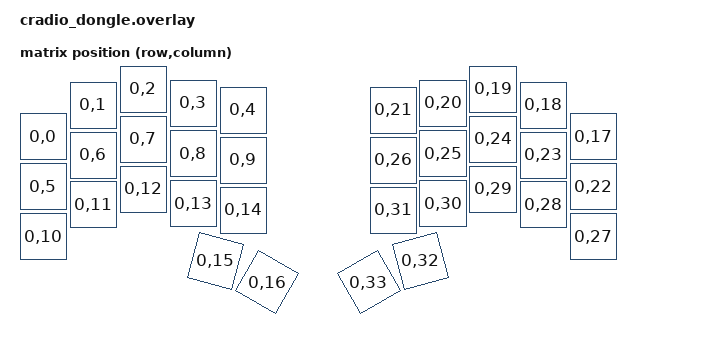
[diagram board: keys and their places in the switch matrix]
#include <dt-bindings/zmk/matrix_transform.h>

/ {
    chosen {
        zmk,kscan = &mock_kscan;
        zmk,physical-layout = &cuddlykeyboards_ferris_layout;
    };

    mock_kscan: mock_kscan_0 {
        compatible = "zmk,kscan-mock";
        columns = <0>;
        rows = <0>;
        events = <0>;
    };

    default_transform: keymap_transform_0 {
        compatible = "zmk,matrix-transform";
        columns = <34>;
        rows = <1>;
        map = <
        RC(0,0)  RC(0,1)  RC(0,2)  RC(0,3)  RC(0,4)    RC(0,21) RC(0,20) RC(0,19) RC(0,18) RC(0,17)
        RC(0,5)  RC(0,6)  RC(0,7)  RC(0,8)  RC(0,9)    RC(0,26) RC(0,25) RC(0,24) RC(0,23) RC(0,22)
        RC(0,10) RC(0,11) RC(0,12) RC(0,13) RC(0,14)   RC(0,31) RC(0,30) RC(0,29) RC(0,28) RC(0,27)
                                   RC(0,15) RC(0,16)   RC(0,33) RC(0,32)
        >;
    };

    cuddlykeyboards_ferris_layout: cuddlykeyboards_ferris_layout {
        compatible = "zmk,physical-layout";
        display-name = "Default";

        keys  //                     w   h    x    y     rot    rx    ry
            = <&key_physical_attrs 100 100    0   95       0     0     0>
            , <&key_physical_attrs 100 100  100   32       0     0     0>
            , <&key_physical_attrs 100 100  200    0       0     0     0>
            , <&key_physical_attrs 100 100  300   28       0     0     0>
            , <&key_physical_attrs 100 100  400   42       0     0     0>
            , <&key_physical_attrs 100 100  700   42       0     0     0>
            , <&key_physical_attrs 100 100  800   28       0     0     0>
            , <&key_physical_attrs 100 100  900    0       0     0     0>
            , <&key_physical_attrs 100 100 1000   32       0     0     0>
            , <&key_physical_attrs 100 100 1100   95       0     0     0>
            , <&key_physical_attrs 100 100    0  195       0     0     0>
            , <&key_physical_attrs 100 100  100  132       0     0     0>
            , <&key_physical_attrs 100 100  200  100       0     0     0>
            , <&key_physical_attrs 100 100  300  129       0     0     0>
            , <&key_physical_attrs 100 100  400  142       0     0     0>
            , <&key_physical_attrs 100 100  700  142       0     0     0>
            , <&key_physical_attrs 100 100  800  129       0     0     0>
            , <&key_physical_attrs 100 100  900  100       0     0     0>
            , <&key_physical_attrs 100 100 1000  132       0     0     0>
            , <&key_physical_attrs 100 100 1100  195       0     0     0>
            , <&key_physical_attrs 100 100    0  295       0     0     0>
            , <&key_physical_attrs 100 100  100  231       0     0     0>
            , <&key_physical_attrs 100 100  200  200       0     0     0>
            , <&key_physical_attrs 100 100  300  229       0     0     0>
            , <&key_physical_attrs 100 100  400  242       0     0     0>
            , <&key_physical_attrs 100 100  700  242       0     0     0>
            , <&key_physical_attrs 100 100  800  229       0     0     0>
            , <&key_physical_attrs 100 100  900  200       0     0     0>
            , <&key_physical_attrs 100 100 1000  231       0     0     0>
            , <&key_physical_attrs 100 100 1100  295       0     0     0>
            , <&key_physical_attrs 100 100  330  355    1500   430   455>
            , <&key_physical_attrs 100 100  430  355    3000   430   455>
            , <&key_physical_attrs 100 100  670  355 (-3000)   770   455>
            , <&key_physical_attrs 100 100  770  355 (-1500)   770   455>
            ;
    };
    
};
